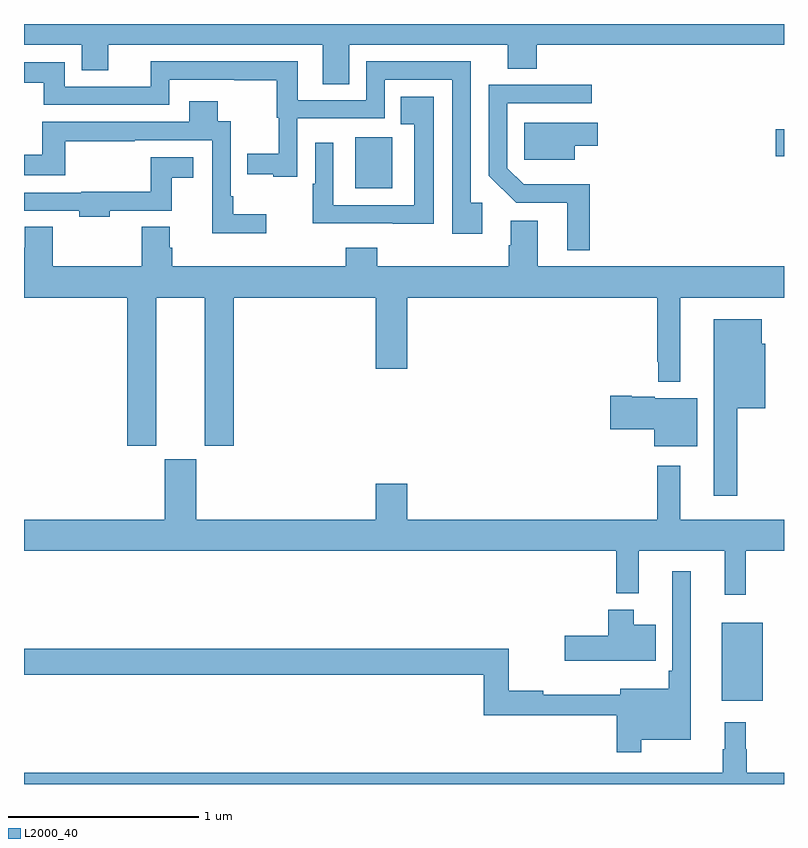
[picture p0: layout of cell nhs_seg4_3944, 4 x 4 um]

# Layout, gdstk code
import gdstk
lib = gdstk.Library(unit=1e-6, precision=1e-09)
def R(c, l, rs):  # rectangles x0, y0, x1, y1
    for r in rs: c.add(gdstk.rectangle(r[:2], r[2:], *l))
def P(c, l, *ps):  # polygons
    for p in ps: c.add(gdstk.Polygon(p, *l))
L2000_40 = (2000, 40)

nhs_seg4_3944 = lib.new_cell('nhs_seg4_3944')
R(nhs_seg4_3944, L2000_40, [(322.673,821.339,322.888,821.749), (320.744,824.036,320.938,824.304), (322.956,824.204,323,824.346)])
P(nhs_seg4_3944, L2000_40, [(320.713,824.792),(321.545,824.792),(321.545,824.665),(321.698,824.665),(321.698,824.792),(323,824.792),(323,824.9),(319,824.9),(319,824.792),(319.304,824.792),(319.304,824.656),(319.444,824.656),(319.444,824.792),(320.573,824.792),(320.573,824.584),(320.713,824.584)],
  [(321.412,823.958),(321.351,823.958),(321.351,824.703),(320.802,824.703),(320.802,824.499),(320.44,824.499),(320.44,824.703),(319.666,824.703),(319.666,824.571),(319.215,824.571),(319.215,824.7),(319,824.7),(319,824.592),(319.103,824.592),(319.103,824.475),(319.764,824.475),(319.764,824.607),(320.107,824.607),(320.107,824.605),(320.331,824.605),(320.331,824.406),(320.341,824.406),(320.341,824.218),(320.175,824.218),(320.175,824.108),(320.312,824.108),(320.312,824.097),(320.439,824.097),(320.439,824.403),(320.898,824.403),(320.898,824.607),(321.255,824.607),(321.255,823.797),(321.412,823.797)],
  [(321.977,824.056),(321.629,824.056),(321.543,824.142),(321.543,824.484),(321.988,824.484),(321.988,824.58),(321.447,824.58),(321.447,824.102),(321.59,823.959),(321.86,823.959),(321.86,823.71),(321.977,823.71)],
  [(321.157,824.518),(320.983,824.518),(320.983,824.372),(321.053,824.372),(321.053,823.947),(320.628,823.947),(320.628,824.275),(320.532,824.275),(320.532,824.058),(320.52,824.058),(320.52,823.851),(320.941,823.851),(320.941,823.849),(321.157,823.849)],
  [(320.275,823.898),(320.101,823.898),(320.101,823.993),(320.088,823.993),(320.088,824.388),(320.019,824.388),(320.019,824.494),(319.871,824.494),(319.871,824.385),(319.095,824.385),(319.095,824.212),(319,824.212),(319,824.103),(319.216,824.103),(319.216,824.284),(319.583,824.284),(319.583,824.289),(319.991,824.289),(319.991,823.799),(320.275,823.799)],
  [(321.898,824.258),(322.021,824.258),(322.021,824.38),(321.633,824.38),(321.633,824.186),(321.898,824.186)],
  [(319.451,823.917),(319.778,823.917),(319.778,824.09),(319.891,824.09),(319.891,824.2),(319.668,824.2),(319.668,824.018),(319.302,824.018),(319.302,824.013),(319,824.013),(319,823.917),(319.291,823.917),(319.291,823.886),(319.451,823.886)],
  [(319.696,823.46),(319.952,823.46),(319.952,822.681),(320.105,822.681),(320.105,823.46),(320.852,823.46),(320.852,823.086),(321.016,823.086),(321.016,823.46),(322.332,823.46),(322.332,823.123),(322.339,823.123),(322.339,823.016),(322.453,823.016),(322.453,823.46),(323,823.46),(323,823.624),(321.703,823.624),(321.703,823.864),(321.563,823.864),(321.563,823.736),(321.551,823.736),(321.551,823.624),(320.858,823.624),(320.858,823.723),(320.693,823.723),(320.693,823.624),(319.781,823.624),(319.781,823.722),(319.768,823.722),(319.768,823.832),(319.621,823.832),(319.621,823.624),(319.152,823.624),(319.152,823.832),(319.004,823.832),(319.004,823.722),(319,823.722),(319,823.46),(319.544,823.46),(319.544,822.681),(319.696,822.681)],
  [(322.753,822.878),(322.9,822.878),(322.9,823.218),(322.882,823.218),(322.882,823.345),(322.631,823.345),(322.631,822.417),(322.753,822.417)],
  [(322.543,822.931),(322.32,822.931),(322.32,822.937),(322.198,822.937),(322.198,822.944),(322.086,822.944),(322.086,822.766),(322.316,822.766),(322.316,822.677),(322.543,822.677)],
  [(322.798,822.128),(323,822.128),(323,822.292),(322.453,822.292),(322.453,822.574),(322.332,822.574),(322.332,822.292),(321.016,822.292),(321.016,822.481),(320.852,822.481),(320.852,822.292),(319.906,822.292),(319.906,822.609),(319.742,822.609),(319.742,822.292),(319,822.292),(319,822.128),(322.117,822.128),(322.117,821.903),(322.235,821.903),(322.235,822.128),(322.688,822.128),(322.688,821.895),(322.798,821.895)],
  [(322.249,821.132),(322.51,821.132),(322.51,822.019),(322.413,822.019),(322.413,821.497),(322.393,821.497),(322.393,821.401),(322.139,821.401),(322.139,821.371),(321.734,821.371),(321.734,821.39),(321.55,821.39),(321.55,821.612),(319,821.612),(319,821.476),(321.421,821.476),(321.421,821.262),(322.12,821.262),(322.12,821.067),(322.249,821.067)],
  [(322.324,821.737),(322.21,821.737),(322.21,821.818),(322.076,821.818),(322.076,821.679),(321.846,821.679),(321.846,821.549),(322.324,821.549)],
  [(323,820.96),(322.805,820.96),(322.805,821.084),(322.798,821.084),(322.798,821.224),(322.688,821.224),(322.688,821.084),(322.677,821.084),(322.677,820.96),(319,820.96),(319,820.9),(323,820.9)])

lib.write_gds('nhs_seg4_3944.gds')
